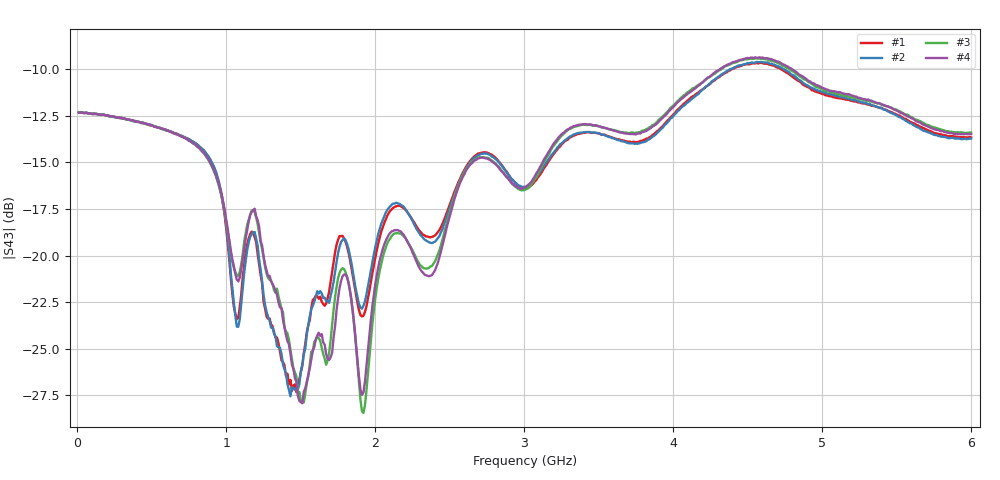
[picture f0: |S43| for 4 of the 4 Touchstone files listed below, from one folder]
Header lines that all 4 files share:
!Keysight Technologies,P5024B,MY61400385,A.19.30.21
!Correction: S11(C  4-Port  )
!S12(C  4-Port  )
!S13(C  4-Port  )
!S14(C  4-Port  )
!S21(C  4-Port  )
!S22(C  4-Port  )
!S23(C  4-Port  )
!S24(C  4-Port  )
!S31(C  4-Port  )
!S32(C  4-Port  )
!S33(C  4-Port  )
!S34(C  4-Port  )
!S41(C  4-Port  )
!S42(C  4-Port  )
!S43(C  4-Port  )
!S44(C  4-Port  )
!S4P File: Measurements: <S11,S12,S13,S14>,
!<S21,S22,S23,S24>,
!<S31,S32,S33,S34>,
!<S41,S42,S43,S44>:
# Hz S  dB  R 50
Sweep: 10 MHz to 6 GHz
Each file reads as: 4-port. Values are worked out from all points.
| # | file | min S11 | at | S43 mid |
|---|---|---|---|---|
| 1 | 20251007_S-Par-SIT_Run2_L109908_SN0001_PRI.s4p | -22.4 dB | 1.67 GHz | -16.4 dB at 3.01 GHz |
| 2 | 20251007_S-Par-SIT_Run2_L109908_SN0001_RED.s4p | -23.9 dB | 1.67 GHz | -16.3 dB at 3.01 GHz |
| 3 | 20251112_S-Par-SIT_Run3_L109908_SN0001_PRI.s4p | -22.5 dB | 1.67 GHz | -16.5 dB at 3.01 GHz |
| 4 | 20251112_S-Par-SIT_Run3_L109908_SN0001_RED.s4p | -24.0 dB | 1.67 GHz | -16.3 dB at 3.01 GHz |
